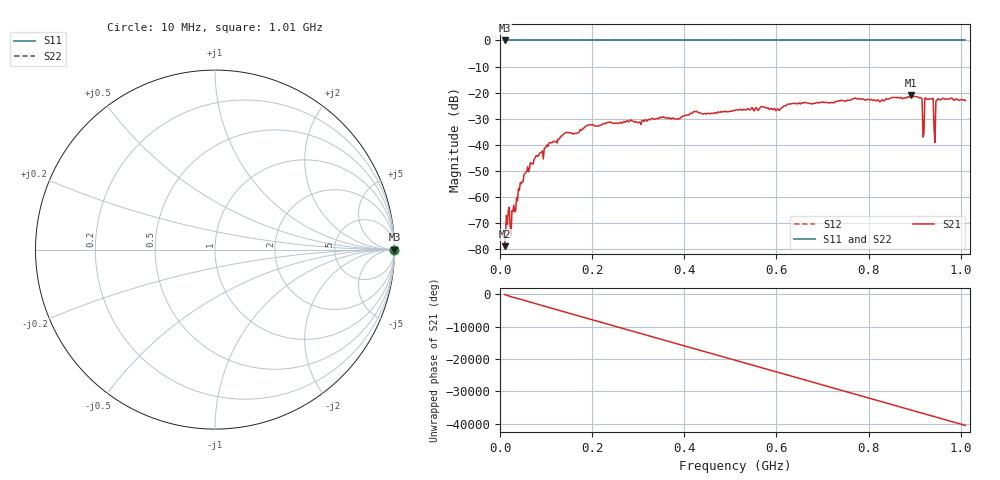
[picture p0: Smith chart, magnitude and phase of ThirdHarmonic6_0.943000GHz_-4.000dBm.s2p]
! 8/16/2025 6:39:43 AM
! C:\ANRITSUVNA\TEMP\TEMP.S2P
! CHANNEL.1
! TR.MEASUREMENT
! RAW.DATA
! RF.CORRECTION.OFF
! AVERAGING.OFF
! IF.BANDWIDTH: 5KHZ
! SWEEPTYPE:  FREQ.SWEEP(Linear)
! Reference Plane Port Info
! PORT:  PORT1  PORT2
! DISTANCE:  0  m  0  m
! TIME:  0  s  0  s
! PHASE.OFFSET:  0  deg.  0  deg.
! LOSS:  0  dB  0  dB
! REF.LOSS:  0  dB  0  dB
! REF.FREQ:  0  Hz  0  Hz
! Power Info
! POWER:  -20  dBm  -20  dBm
! EFF.POWER:  -20  dBm  -20  dBm
! SOURCE.ATTEN:  0  dB  0  dB
! TEST.ATTEN:  0  dB  0  dB
# GHZ S RI R 50.0
! FREQ.GHZ  S11RE  S11IM  S21RE  S21IM  S12RE  S12IM  S22RE  S22IM
!; PortSelection: Port_12
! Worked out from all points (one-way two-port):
!   501 points, 10 MHz to 1.01 GHz, reference 50 ohm
!   highest |S21| = -21.09 dB at 892 MHz (marker M1); lowest = -78.9 dB at 10 MHz (marker M2)
!   lowest |S11| = 0.0 dB at 10 MHz (marker M3)
!   |S11| at or under -10 dB: nowhere
!   |S22| runs from 0.0 to 0.0 dB; largest |S21 - S12| = 1.1
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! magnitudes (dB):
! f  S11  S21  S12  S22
! 10 MHz  0.0  -78.9  0.0  0.0
! 16 MHz  0.0  -70.6  0.0  0.0
! 26 MHz  0.0  -65.2  0.0  0.0
! 44 MHz  0.0  -54.6  0.0  0.0
! 78 MHz  0.0  -44.3  0.0  0.0
! 140 MHz  0.0  -35.6  0.0  0.0
! 178 MHz  0.0  -34.2  0.0  0.0
! 344 MHz  0.0  -30.0  0.0  0.0
! 510 MHz  0.0  -26.8  0.0  0.0
! 678 MHz  0.0  -24.4  0.0  0.0
! 844 MHz  0.0  -22.4  0.0  0.0
! 892 MHz  0.0  -21.1  0.0  0.0
! 912 MHz  0.0  -22.0  0.0  0.0
! 916 MHz  0.0  -22.4  0.0  0.0
! 918 MHz  0.0  -37.0  0.0  0.0
! 922 MHz  0.0  -22.2  0.0  0.0
! 926 MHz  0.0  -22.5  0.0  0.0
! 936 MHz  0.0  -22.4  0.0  0.0
! 940 MHz  0.0  -22.2  0.0  0.0
! 946 MHz  0.0  -23.2  0.0  0.0
! 950 MHz  0.0  -22.4  0.0  0.0
! 1.01 GHz  0.0  -23.1  0.0  0.0
